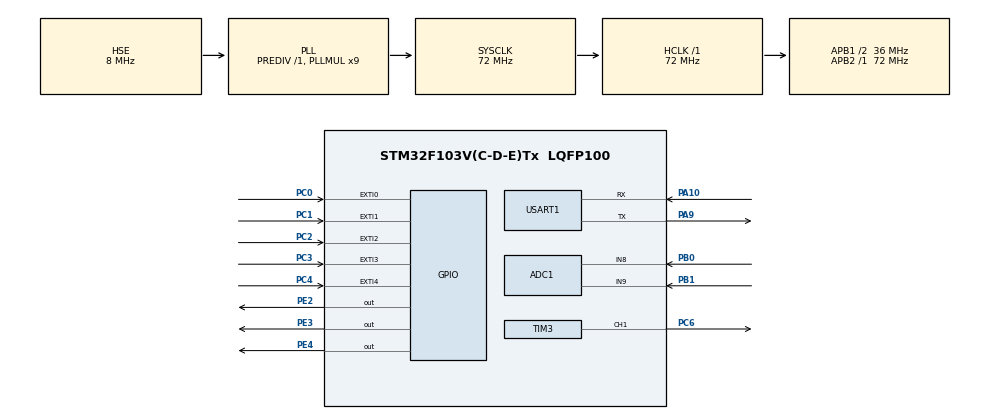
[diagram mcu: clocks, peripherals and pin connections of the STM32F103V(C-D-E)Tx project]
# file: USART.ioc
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ADC1.Channel-4\#ChannelRegularConversion=ADC_CHANNEL_8
ADC1.Channel-5\#ChannelRegularConversion=ADC_CHANNEL_9
ADC1.ContinuousConvMode=DISABLE
ADC1.DataAlign=ADC_DATAALIGN_RIGHT
ADC1.DiscontinuousConvMode=DISABLE
ADC1.EnableAnalogWatchDog=false
ADC1.EnableRegularConversion=ENABLE
ADC1.ExternalTrigConv=ADC_SOFTWARE_START
ADC1.InjNumberOfConversion=0
ADC1.NbrOfConversion=2
ADC1.NbrOfConversionFlag=1
ADC1.Rank-4\#ChannelRegularConversion=1
ADC1.Rank-5\#ChannelRegularConversion=2
ADC1.SamplingTime-4\#ChannelRegularConversion=ADC_SAMPLETIME_1CYCLE_5
ADC1.SamplingTime-5\#ChannelRegularConversion=ADC_SAMPLETIME_1CYCLE_5
ADC1.ScanConvMode=ADC_SCAN_ENABLE
ADC1.master=1
Dma.ADC1.0.Direction=DMA_PERIPH_TO_MEMORY
Dma.ADC1.0.Instance=DMA1_Channel1
Dma.ADC1.0.MemDataAlignment=DMA_MDATAALIGN_WORD
Dma.ADC1.0.MemInc=DMA_MINC_ENABLE
Dma.ADC1.0.Mode=DMA_CIRCULAR
Dma.ADC1.0.PeriphDataAlignment=DMA_PDATAALIGN_WORD
Dma.ADC1.0.PeriphInc=DMA_PINC_DISABLE
Dma.ADC1.0.Priority=DMA_PRIORITY_LOW
Dma.Request0=ADC1
Mcu.Family=STM32F1
Mcu.Name=STM32F103V(C-D-E)Tx
Mcu.Package=LQFP100
NVIC.DMA1_Channel1_IRQn=true\:0\:0\:false\:false\:true\:false
NVIC.EXTI0_IRQn=true\:0\:0\:false\:true\:true\:1\:true
NVIC.EXTI1_IRQn=true\:0\:0\:false\:true\:true\:2\:true
NVIC.EXTI2_IRQn=true\:0\:0\:false\:true\:true\:4\:true
NVIC.EXTI3_IRQn=true\:0\:0\:false\:true\:true\:3\:true
NVIC.EXTI4_IRQn=true\:0\:0\:false\:true\:true\:5\:true
NVIC.PriorityGroup=NVIC_PRIORITYGROUP_4
NVIC.TIM6_IRQn=true\:0\:0\:false\:false\:true\:true
NVIC.USART1_IRQn=true\:0\:0\:false\:false\:true\:true
OSC_IN.Mode=HSE-External-Oscillator
OSC_IN.Signal=RCC_OSC_IN
OSC_OUT.Mode=HSE-External-Oscillator
OSC_OUT.Signal=RCC_OSC_OUT
PA10.Mode=Asynchronous
PA10.Signal=USART1_RX
PA9.Mode=Asynchronous
PA9.Signal=USART1_TX
PB0.Signal=ADCx_IN8
PB1.Signal=ADCx_IN9
PC0.GPIO_ModeDefaultEXTI=GPIO_MODE_IT_RISING
PC0.Signal=GPXTI0
PC1.Signal=GPXTI1
PC2.Signal=GPXTI2
PC3.Signal=GPXTI3
PC4.Signal=GPXTI4
PC6.Signal=S_TIM3_CH1
PE2.Signal=GPIO_Output
PE3.Signal=GPIO_Output
PE4.Signal=GPIO_Output
ProjectManager.HeapSize=0x200
ProjectManager.StackSize=0x400
ProjectManager.TargetToolchain=EWARM
RCC.ADCPresc=RCC_ADCPCLK2_DIV6
RCC.AHBFreq_Value=72000000
RCC.APB1CLKDivider=RCC_HCLK_DIV2
RCC.APB1Freq_Value=36000000
RCC.APB1TimFreq_Value=72000000
RCC.APB2Freq_Value=72000000
RCC.APB2TimFreq_Value=72000000
RCC.HCLKFreq_Value=72000000
RCC.PLLMUL=RCC_PLL_MUL9
RCC.PLLSourceVirtual=RCC_PLLSOURCE_HSE
RCC.SYSCLKFreq_VALUE=72000000
RCC.SYSCLKSource=RCC_SYSCLKSOURCE_PLLCLK
RCC.USBFreq_Value=72000000
SH.ADCx_IN8.0=ADC1_IN8,IN8
SH.ADCx_IN9.0=ADC1_IN9,IN9
SH.S_TIM3_CH1.0=TIM3_CH1,PWM Generation1 CH1
TIM3.Channel-PWM\ Generation1\ CH1=TIM_CHANNEL_1
TIM3.Period=4096
TIM3.Prescaler=48-1
TIM3.Pulse-PWM\ Generation1\ CH1=100
TIM6.AutoReloadPreload=TIM_AUTORELOAD_PRELOAD_ENABLE
TIM6.Period=199
TIM6.Prescaler=36000
USART1.VirtualMode=VM_ASYNC
VP_SYS_VS_ND.Mode=No_Debug
VP_TIM6_VS_ClockSourceINT.Mode=Enable_Timer
board=custom

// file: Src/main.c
/**
  ******************************************************************************
  * @file           : main.c
  * @brief          : Main program body
  ******************************************************************************
  ** This notice applies to any and all portions of this file
  * that are not between comment pairs USER CODE BEGIN and
  * USER CODE END. Other portions of this file, whether
  * inserted by the user or by software development tools
  * are owned by their respective copyright owners.
  *
  * COPYRIGHT(c) 2018 STMicroelectronics
  *
  * Redistribution and use in source and binary forms, with or without modification,
  * are permitted provided that the following conditions are met:
  *   1. Redistributions of source code must retain the above copyright notice,
  *      this list of conditions and the following disclaimer.
  *   2. Redistributions in binary form must reproduce the above copyright notice,
  *      this list of conditions and the following disclaimer in the documentation
  *      and/or other materials provided with the distribution.
  *   3. Neither the name of STMicroelectronics nor the names of its contributors
  *      may be used to endorse or promote products derived from this software
  *      without specific prior written permission.
  *
  * THIS SOFTWARE IS PROVIDED BY THE COPYRIGHT HOLDERS AND CONTRIBUTORS "AS IS"
  * AND ANY EXPRESS OR IMPLIED WARRANTIES, INCLUDING, BUT NOT LIMITED TO, THE
  * IMPLIED WARRANTIES OF MERCHANTABILITY AND FITNESS FOR A PARTICULAR PURPOSE ARE
  * DISCLAIMED. IN NO EVENT SHALL THE COPYRIGHT HOLDER OR CONTRIBUTORS BE LIABLE
  * FOR ANY DIRECT, INDIRECT, INCIDENTAL, SPECIAL, EXEMPLARY, OR CONSEQUENTIAL
  * DAMAGES (INCLUDING, BUT NOT LIMITED TO, PROCUREMENT OF SUBSTITUTE GOODS OR
  * SERVICES; LOSS OF USE, DATA, OR PROFITS; OR BUSINESS INTERRUPTION) HOWEVER
  * CAUSED AND ON ANY THEORY OF LIABILITY, WHETHER IN CONTRACT, STRICT LIABILITY,
  * OR TORT (INCLUDING NEGLIGENCE OR OTHERWISE) ARISING IN ANY WAY OUT OF THE USE
  * OF THIS SOFTWARE, EVEN IF ADVISED OF THE POSSIBILITY OF SUCH DAMAGE.
  *
  ******************************************************************************
  */
#include "main.h"
#include "stm32f1xx_hal.h"
#include "adc.h"
#include "dma.h"
#include "tim.h"
#include "usart.h"
#include "gpio.h"

/* USER CODE BEGIN PV */
/* Private variables ---------------------------------------------------------*/

/* USER CODE END PV */

void SystemClock_Config(void);
static void MX_NVIC_Init(void);

/* USER CODE BEGIN PFP */
/* Private function prototypes -----------------------------------------------*/

/* USER CODE END PFP */

/* USER CODE BEGIN 0 */

int fputc(int ch, FILE *f)
{
  uint8_t temp[1]={ch};
  HAL_UART_Transmit(&huart1, temp, 1, 2);
  return(ch);
}
extern TIM_HandleTypeDef htim6; // tim.c에 있는 거라서
void SystemClock_Config(void);
unsigned char Timer_500m;
unsigned char flag=0;

void HAL_TIM_PeriodElapsedCallback(TIM_HandleTypeDef *htim)
{
     if(htim -> Instance == TIM6)
     {
        if(flag==1)
         {
           HAL_GPIO_TogglePin(GPIOE, GPIO_PIN_2| GPIO_PIN_3| GPIO_PIN_4);
         }
     }
}

uint8_t Rx_Data[2];
uint8_t Rx_Buffer[20];
uint8_t USART1_len=0;
uint8_t USART1_rx_end=0;
void HAL_UART_RxCpltCallback(UART_HandleTypeDef *huart)
{
  static uint8_t usart1_chk=0;
  if(huart -> Instance == USART1)
  {
      USART1_rx_end=0;
      switch(usart1_chk)
      {
          case 0:
            if(Rx_Data[0]==0x02){
                //Rx_Buffer[USART1_len]=Rx_Data[0];
                //USART1_len++;
                usart1_chk=1;
            }
            else
              usart1_chk=0;
            break;
          case 1:
            if(Rx_Data[0]==0x03){
              USART1_rx_end=1;
              usart1_chk=0;
            }
            else{
              Rx_Buffer[USART1_len]=Rx_Data[0];
              USART1_len++;
            }
            break;
          default :
            usart1_chk=0;
            break;
      }
      HAL_UART_Receive_IT(&huart1, Rx_Data, 1);
  }
}
void HAL_GPIO_EXTI_Callback(uint16_t GPIO_Pin){
  HAL_GPIO_WritePin(GPIOE, GPIO_PIN_2|GPIO_PIN_3|GPIO_PIN_4,RESET);
  flag=0;
  if(GPIO_Pin == GPIO_PIN_0)
    HAL_GPIO_TogglePin(GPIOE, GPIO_PIN_2);
  else if(GPIO_Pin == GPIO_PIN_1)
    HAL_GPIO_TogglePin(GPIOE, GPIO_PIN_3);
  else if(GPIO_Pin == GPIO_PIN_2)
    HAL_GPIO_TogglePin(GPIOE, GPIO_PIN_4);
  else if(GPIO_Pin == GPIO_PIN_3)
    HAL_GPIO_WritePin(GPIOE, GPIO_PIN_2|GPIO_PIN_3|GPIO_PIN_4,SET);
  else{
    flag=1;
  }
}
/* USER CODE END 0 */

int main(void)
{
  /* USER CODE BEGIN 1 */
  uint8_t i;
   uint32_t ADC_Value_32[2];      // ADC Value
   uint16_t ADC_Value_16[2];      // ADC Value

  /* USER CODE END 1 */

  /* MCU Configuration----------------------------------------------------------*/

  /* Reset of all peripherals, Initializes the Flash interface and the Systick. */
  HAL_Init();

  /* Configure the system clock */
  SystemClock_Config();

  /* Initialize all configured peripherals */
  MX_GPIO_Init();
  MX_DMA_Init();
  MX_USART1_UART_Init();
  MX_TIM6_Init();
  MX_ADC1_Init();
  MX_TIM3_Init();

  /* Initialize interrupts */
  MX_NVIC_Init();
  /* USER CODE BEGIN 2 */
//  HAL_NVIC_DisableIRQ(TIM6_IRQn);
  HAL_TIM_Base_Start_IT(&htim6);
  HAL_TIM_PWM_Start(&htim3, TIM_CHANNEL_1);
  HAL_TIMEx_PWMN_Start(&htim3, TIM_CHANNEL_1);

//  uint8_t Tx_Buffer[20];
  /* USER CODE END 2 */

  /* Infinite loop */
  /* USER CODE BEGIN WHILE */
  TIM3->CCR1 = 0;
  HAL_UART_Receive_IT(&huart1, Rx_Data, 1);
  while (1)
  {
        if(USART1_rx_end)
	{
          int i=0;
          int tmp =0;
          for(i=0;i<USART1_len;i++){
            tmp*=10;
            tmp += Rx_Buffer[i]-'0';
          }
          tmp = (int)(tmp*40.96);
          printf("%d\n\r",tmp);
	  USART1_len=0;
	  USART1_rx_end=0;
          TIM3->CCR1 =tmp;
	}

//         if(Timer_500m % 5 == 0)
//         {
//           HAL_GPIO_TogglePin(GPIOE, GPIO_PIN_3);
//         }
//         if(Timer_500m % 10 == 0)
//         {
//            HAL_GPIO_TogglePin(GPIOE, GPIO_PIN_4);
//           Timer_500m = 0;
//         }
//

//        HAL_ADC_Start_DMA(&hadc1, ADC_Value_32, 1);
//	HAL_Delay(1000);
//	ADC_Value_16=(uint16_t)ADC_Value_32[0];
//	ADC_Value_16 &= 0xFFF;
//	printf("\n ADC Value=%d", ADC_Value_16);
//
//        int thousand = (ADC_Value_16 - 1) /1000;
//        uint16_t status[] = {
//          GPIO_PIN_2,
//          GPIO_PIN_3,
//          GPIO_PIN_4,
//          GPIO_PIN_2|GPIO_PIN_3,
//          GPIO_PIN_2|GPIO_PIN_3|GPIO_PIN_4
//        };
//
//        HAL_GPIO_WritePin(GPIOE, GPIO_PIN_2|GPIO_PIN_3|GPIO_PIN_4, GPIO_PIN_RESET);
//        HAL_GPIO_WritePin(GPIOE, status[thousand], GPIO_PIN_SET);
//      HAL_ADC_Start_DMA(&hadc1, ADC_Value_32, 2);
//      HAL_Delay(100);
//      for(i=0; i<2; i++){
//         ADC_Value_16[i]=(uint16_t)ADC_Value_32[i];
//      }
//      ADC_Value_16[0] &= 0xFFF;
//      printf("X:%d \n", ADC_Value_16[0]);
//      ADC_Value_16[1] &= 0xFFF;
//      printf("Y:%d \n", ADC_Value_16[1]);

//    if(USART1_rx_end)
//	{
//	  HAL_UART_Transmit(&huart1, Rx_Buffer, USART1_len, 2);
//	  USART1_len=0;
//	  USART1_rx_end=0;
//	}
  /* USER CODE END WHILE */

  /* USER CODE BEGIN 3 */
//     Tx_Buffer[0] = 'H';
//     Tx_Buffer[1] = 'E';
//     Tx_Buffer[2] = 'L';
//     Tx_Buffer[3] = 'L';
//     Tx_Buffer[4] = 'O';
//     while(1){
//       if(!(HAL_GPIO_ReadPin(GPIOC, GPIO_PIN_0))){
//        HAL_UART_Transmit(&huart1, Tx_Buffer, 5, 2);
//        HAL_Delay(1000);
//       }
//     }
  }

  /* USER CODE END 3 */

}

void SystemClock_Config(void)
{

  RCC_OscInitTypeDef RCC_OscInitStruct;
  RCC_ClkInitTypeDef RCC_ClkInitStruct;
  RCC_PeriphCLKInitTypeDef PeriphClkInit;

    /**Initializes the CPU, AHB and APB busses clocks
    */
  RCC_OscInitStruct.OscillatorType = RCC_OSCILLATORTYPE_HSE;
  RCC_OscInitStruct.HSEState = RCC_HSE_ON;
  RCC_OscInitStruct.HSEPredivValue = RCC_HSE_PREDIV_DIV1;
  RCC_OscInitStruct.HSIState = RCC_HSI_ON;
  RCC_OscInitStruct.PLL.PLLState = RCC_PLL_ON;
  RCC_OscInitStruct.PLL.PLLSource = RCC_PLLSOURCE_HSE;
  RCC_OscInitStruct.PLL.PLLMUL = RCC_PLL_MUL9;
  if (HAL_RCC_OscConfig(&RCC_OscInitStruct) != HAL_OK)
  {
    _Error_Handler(__FILE__, __LINE__);
  }

    /**Initializes the CPU, AHB and APB busses clocks
    */
  RCC_ClkInitStruct.ClockType = RCC_CLOCKTYPE_HCLK|RCC_CLOCKTYPE_SYSCLK
                              |RCC_CLOCKTYPE_PCLK1|RCC_CLOCKTYPE_PCLK2;
  RCC_ClkInitStruct.SYSCLKSource = RCC_SYSCLKSOURCE_PLLCLK;
  RCC_ClkInitStruct.AHBCLKDivider = RCC_SYSCLK_DIV1;
  RCC_ClkInitStruct.APB1CLKDivider = RCC_HCLK_DIV2;
  RCC_ClkInitStruct.APB2CLKDivider = RCC_HCLK_DIV1;

  if (HAL_RCC_ClockConfig(&RCC_ClkInitStruct, FLASH_LATENCY_2) != HAL_OK)
  {
    _Error_Handler(__FILE__, __LINE__);
  }

  PeriphClkInit.PeriphClockSelection = RCC_PERIPHCLK_ADC;
  PeriphClkInit.AdcClockSelection = RCC_ADCPCLK2_DIV6;
  if (HAL_RCCEx_PeriphCLKConfig(&PeriphClkInit) != HAL_OK)
  {
    _Error_Handler(__FILE__, __LINE__);
  }

    /**Configure the Systick interrupt time
    */
  HAL_SYSTICK_Config(HAL_RCC_GetHCLKFreq()/1000);

    /**Configure the Systick
    */
  HAL_SYSTICK_CLKSourceConfig(SYSTICK_CLKSOURCE_HCLK);

  /* SysTick_IRQn interrupt configuration */
  HAL_NVIC_SetPriority(SysTick_IRQn, 0, 0);
}

/**
  * @brief NVIC Configuration.
  * @retval None
  */
static void MX_NVIC_Init(void)
{
  /* EXTI0_IRQn interrupt configuration */
  HAL_NVIC_SetPriority(EXTI0_IRQn, 0, 0);
  HAL_NVIC_EnableIRQ(EXTI0_IRQn);
  /* EXTI1_IRQn interrupt configuration */
  HAL_NVIC_SetPriority(EXTI1_IRQn, 0, 0);
  HAL_NVIC_EnableIRQ(EXTI1_IRQn);
  /* EXTI3_IRQn interrupt configuration */
  HAL_NVIC_SetPriority(EXTI3_IRQn, 0, 0);
  HAL_NVIC_EnableIRQ(EXTI3_IRQn);
  /* EXTI2_IRQn interrupt configuration */
  HAL_NVIC_SetPriority(EXTI2_IRQn, 0, 0);
  HAL_NVIC_EnableIRQ(EXTI2_IRQn);
  /* EXTI4_IRQn interrupt configuration */
  HAL_NVIC_SetPriority(EXTI4_IRQn, 0, 0);
  HAL_NVIC_EnableIRQ(EXTI4_IRQn);
}

void _Error_Handler(char *file, int line)
{
  while(1)
  {
  }
}

/************************ (C) COPYRIGHT STMicroelectronics *****END OF FILE****/
